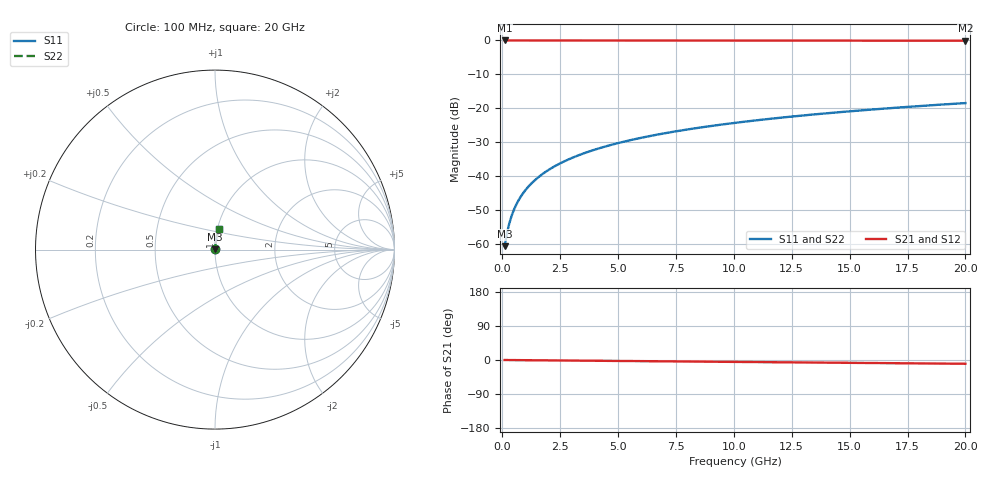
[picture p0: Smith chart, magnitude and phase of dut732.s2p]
! Touchstone file exported from HFSS 2026.1.0
!  File:  C:/ffzhzh/LocalFiles/Ansys_Project_Files/temp_train_TSV_732_1783182573_18472.aedt
!  Generated:  12:31:42 AM Jul  5, 2026
!  Design:  TSV
!  Project:  temp_train_TSV_732_1783182573_18472
! Variables:
!  h_bsmrdl = 2um
!  h_ox = 20um
!  h_rdl = 5um
!  h_sub = 63.44um
!  h_tmrdl = 5um
!  h_tsv = 63.44um
!  h_via = 3um
!  l_bsmrdl = 300um
!  l_sub = 406.62um
!  l_tmrdl = 200um
!  m_sub = 200um
!  pitch = 55.59um
!  r_tsv = 3.31um
!  s_tmrdl = 10um
!  w_bsmrdl = 18um
!  w_sub = 500um
!  w_tmrdl = 12um
!  x_tsv_center1 = 206um
!  x_tsv_center2 = 524um
!  x_tsv_center3 = 736um
!  x_tsv_center4 = 1054um
!  x_tsv_center5 = 1266um
!  x_tsv_center6 = 1584um
# GHz S MA R 50.000000
! Terminal data exported
! Port[1] = TSV1_1_T1
! Port[2] = TSV1_1_T2
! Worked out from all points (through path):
!   200 points, 100 MHz to 20 GHz, reference 50 ohm
!   highest |S21| = -0.01 dB at 100 MHz (marker M1); lowest = -0.1 dB at 20 GHz (marker M2)
!   group delay of S21, straight-line fit = 1.38 ps
!   lowest |S11| = -60.6 dB at 100 MHz (marker M3), VSWR 1.00, Z = 50.1 + j0.0632 ohm
!   |S11| at or under -10 dB: start of sweep to end of sweep
!   |S22| runs from -60.6 to -18.4 dB; largest |S21 - S12| = 4.1e-15
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0.1  0.0009381 42.3  0.9993 -0.1  0.9993 -0.1  0.0009381 42.3
! Gamma 0 0 0 0
! Port Impedance 50 0 50 0
0.2  0.001442 60.9  0.9993 -0.1  0.9993 -0.1  0.001442 60.9
0.3  0.002015 69.3  0.9993 -0.2  0.9993 -0.2  0.002015 69.3
0.4  0.002608 73.9  0.9993 -0.2  0.9993 -0.2  0.002608 73.9
0.5  0.003211 76.7  0.9993 -0.3  0.9993 -0.3  0.003211 76.7
0.6  0.003819 78.7  0.9993 -0.3  0.9993 -0.3  0.003819 78.7
0.8  0.005042 81.2  0.9992 -0.4  0.9992 -0.4  0.005042 81.2
1.1  0.006888 83.1  0.9992 -0.6  0.9992 -0.6  0.006888 83.1
1.5  0.009356 84.5  0.9992 -0.8  0.9992 -0.8  0.009356 84.5
1.8  0.01121 85.0  0.9991 -0.9  0.9991 -0.9  0.01121 85.0
2.1  0.01306 85.3  0.9991 -1.1  0.9991 -1.1  0.01306 85.3
2.7  0.01676 85.6  0.999 -1.4  0.999 -1.4  0.01676 85.6
3.5  0.02168 85.7  0.9988 -1.8  0.9988 -1.8  0.02168 85.7
4.2  0.02597 85.6  0.9986 -2.1  0.9986 -2.1  0.02597 85.6
5  0.03085 85.4  0.9984 -2.5  0.9984 -2.5  0.03085 85.4
5.9  0.03632 85.0  0.9981 -3.0  0.9981 -3.0  0.03632 85.0
6.8  0.04176 84.7  0.9978 -3.4  0.9978 -3.4  0.04176 84.7
8.3  0.05078 84.1  0.9972 -4.2  0.9972 -4.2  0.05078 84.1
10.1  0.06155 83.3  0.9964 -5.1  0.9964 -5.1  0.06155 83.3
13.4  0.08112 81.9  0.9947 -6.7  0.9947 -6.7  0.08112 81.9
16.7  0.1005 80.4  0.9927 -8.3  0.9927 -8.3  0.1005 80.4
20  0.1197 78.9  0.9903 -9.9  0.9903 -9.9  0.1197 78.9
